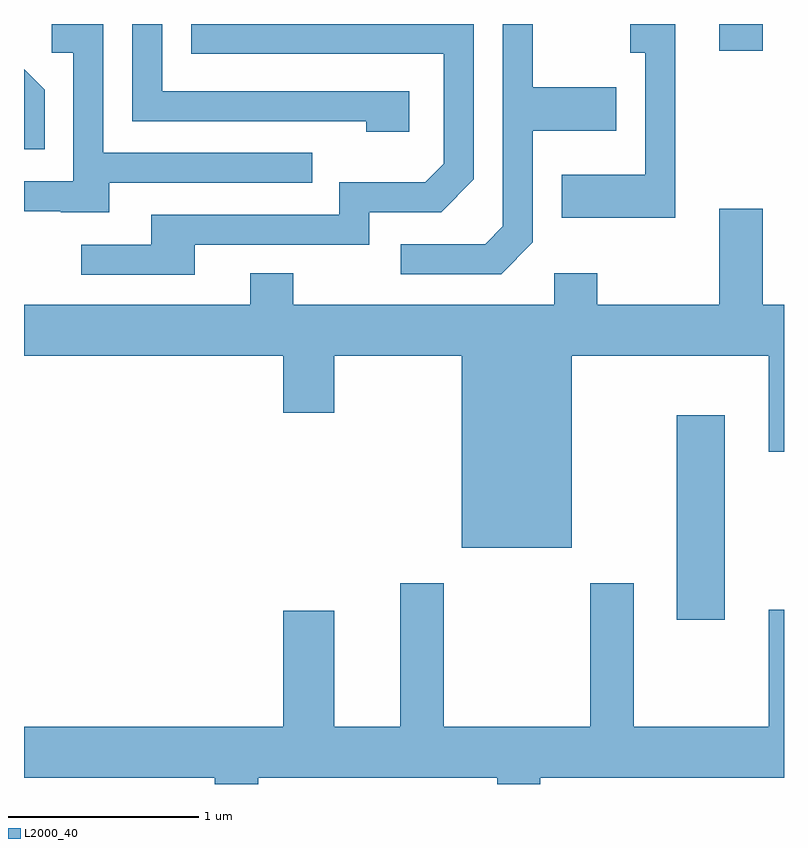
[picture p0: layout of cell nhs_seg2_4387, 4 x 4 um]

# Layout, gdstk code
import gdstk
lib = gdstk.Library(unit=1e-6, precision=1e-09)
def R(c, l, rs):  # rectangles x0, y0, x1, y1
    for r in rs: c.add(gdstk.rectangle(r[:2], r[2:], *l))
def P(c, l, *ps):  # polygons
    for p in ps: c.add(gdstk.Polygon(p, *l))
L2000_40 = (2000, 40)

nhs_seg2_4387 = lib.new_cell('nhs_seg2_4387')
R(nhs_seg2_4387, L2000_40, [(317.046,1084.666,317.299,1085.744), (317.271,1087.661,317.499,1087.802)])
P(nhs_seg2_4387, L2000_40, [(316.289,1086.654),(316.289,1087.241),(316.729,1087.241),(316.729,1087.469),(316.289,1087.469),(316.289,1087.802),(316.131,1087.802),(316.131,1086.737),(316.039,1086.644),(315.593,1086.644),(315.593,1086.486),(316.122,1086.486)],
  [(317.039,1087.802),(316.803,1087.802),(316.803,1087.651),(316.881,1087.651),(316.881,1087.009),(316.441,1087.009),(316.441,1086.781),(317.039,1086.781)],
  [(314.509,1086.641),(315.429,1086.641),(315.429,1086.811),(315.807,1086.811),(315.979,1086.984),(315.979,1087.802),(314.491,1087.802),(314.491,1087.646),(315.821,1087.646),(315.821,1087.067),(315.724,1086.969),(315.271,1086.969),(315.271,1086.799),(314.281,1086.799),(314.281,1086.639),(313.913,1086.639),(313.913,1086.481),(314.509,1086.481)],
  [(315.639,1087.449),(314.339,1087.449),(314.339,1087.802),(314.181,1087.802),(314.181,1087.291),(315.411,1087.291),(315.411,1087.236),(315.639,1087.236)],
  [(314.059,1086.966),(315.128,1086.966),(315.128,1087.124),(314.029,1087.124),(314.029,1087.802),(313.758,1087.802),(313.758,1087.651),(313.871,1087.651),(313.871,1086.974),(313.611,1086.974),(313.611,1086.816),(313.805,1086.816),(313.805,1086.811),(314.059,1086.811)],
  [(313.719,1087.457),(313.611,1087.565),(313.611,1087.143),(313.719,1087.143)],
  [(316.494,1086.056),(317.531,1086.056),(317.531,1085.551),(317.611,1085.551),(317.611,1086.324),(317.499,1086.324),(317.499,1086.829),(317.271,1086.829),(317.271,1086.324),(316.629,1086.324),(316.629,1086.489),(316.401,1086.489),(316.401,1086.324),(315.029,1086.324),(315.029,1086.489),(314.801,1086.489),(314.801,1086.324),(313.611,1086.324),(313.611,1086.056),(314.976,1086.056),(314.976,1085.756),(315.244,1085.756),(315.244,1086.056),(315.916,1086.056),(315.916,1085.046),(316.494,1085.046)],
  [(314.844,1083.836),(316.101,1083.836),(316.101,1083.802),(316.329,1083.802),(316.329,1083.836),(317.611,1083.836),(317.611,1084.719),(317.531,1084.719),(317.531,1084.104),(316.819,1084.104),(316.819,1084.859),(316.591,1084.859),(316.591,1084.104),(315.819,1084.104),(315.819,1084.859),(315.591,1084.859),(315.591,1084.104),(315.244,1084.104),(315.244,1084.714),(314.976,1084.714),(314.976,1084.104),(313.611,1084.104),(313.611,1083.836),(314.616,1083.836),(314.616,1083.802),(314.844,1083.802)])

lib.write_gds('nhs_seg2_4387.gds')
